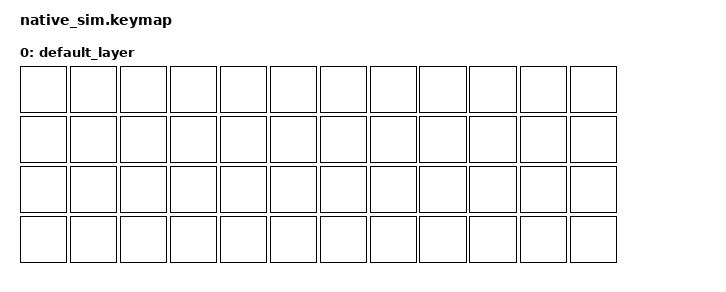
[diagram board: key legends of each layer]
/*
 * Copyright (c) 2026 The ZMK Contributors
 * SPDX-License-Identifier: MIT
 *
 * Minimal 4x12 keymap for the preview harness. The module animates on its own
 * and the harness picks the effect with --effect, so no binding needs to invoke
 * &rgb_matrix: a layer of &none is enough to satisfy ZMK.
 */

#include <behaviors.dtsi>
#include <dt-bindings/zmk/keys.h>

/ {
    keymap {
        compatible = "zmk,keymap";

        default_layer {
            bindings = <
                &none &none &none &none &none &none &none &none &none &none &none &none
                &none &none &none &none &none &none &none &none &none &none &none &none
                &none &none &none &none &none &none &none &none &none &none &none &none
                &none &none &none &none &none &none &none &none &none &none &none &none
            >;
        };
    };
};
